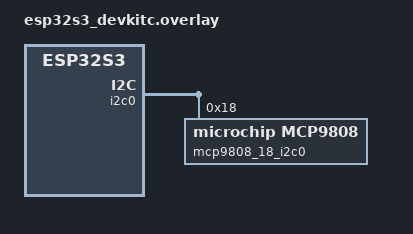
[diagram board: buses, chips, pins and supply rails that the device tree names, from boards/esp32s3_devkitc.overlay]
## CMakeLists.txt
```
cmake_minimum_required(VERSION 3.22.0)

set(ZEPHYR_EXTRA_MODULES "${CMAKE_SOURCE_DIR}/../../modules/mcp9808")

find_package(Zephyr REQUIRED HINTS $ENV{ZEPHYR_BASE})
project(thread_demo)

target_sources(app PRIVATE src/main.c)
```

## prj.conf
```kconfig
CONFIG_SENSOR=y
CONFIG_I2C=y
CONFIG_MCP9808=y
```

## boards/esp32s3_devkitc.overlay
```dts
// Create an alias for our MCP9808 device
/ {
    aliases {
        my-mcp9808 = &mcp9808_18_i2c0;
    };
};

// Add custom pins to the node labeled "pinctrl"
&pinctrl {

	// Configure custom pin settings for I2C bus 0
    i2c0_custom_pins: i2c0_custom_pins {

		// Custom group name
        group1 {
            pinmux = <I2C0_SDA_GPIO15>, <I2C0_SCL_GPIO16>;	// SDA on GPIO15, SCL on GPIO16
            bias-pull-up; 									// Enable pull-up resistors for both pins
            drive-open-drain; 								// Required for I2C
            output-high; 									// Start with lines high (inactive state)
        };
    };
};

// Enable I2C0 and add MCP9808 sensor
&i2c0 {
    pinctrl-0 = <&i2c0_custom_pins>; 						// Use the custom pin configuration
    status = "okay"; 										// Enable I2C0 interface

	// Label: name of our device node
    mcp9808_18_i2c0: mcp9808@18 {
        compatible = "microchip,mcp9808"; 					// Specify device bindings/driver
        reg = <0x18>; 										// I2C address of the MCP9808
        status = "okay"; 									// Enable the MCP9808 sensor
        resolution = <3>; 									// Set the resolution
    };
};
```

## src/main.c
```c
#include <stdio.h>
#include <zephyr/kernel.h>
#include <zephyr/drivers/sensor.h>

// Sleep settings
static const int32_t sensor_sleep_ms = 500;
static const int32_t output_sleep_ms = 5000;

// Stack size settings
#define SENSOR_THREAD_STACK_SIZE 512
#define OUTPUT_THREAD_STACK_SIZE 1024
#define QUEUE_SIZE 20

// Define stack areas for the threads
K_THREAD_STACK_DEFINE(sensor_stack, SENSOR_THREAD_STACK_SIZE);
K_THREAD_STACK_DEFINE(output_stack, OUTPUT_THREAD_STACK_SIZE);

// Declare thread data structs
static struct k_thread sensor_thread;
static struct k_thread output_thread;

// Define queue
K_MSGQ_DEFINE(my_queue, sizeof(struct sensor_value), QUEUE_SIZE, 4);

// Sensor thread entry point
void sensor_thread_start(void *sensor, void *arg2, void *arg3)
{
	int ret;
	struct sensor_value temperature;

	// Cast sensor handle back to device struct pointer
	const struct device *mcp = (const struct device *)sensor;

	// Check if the MCP9808 has been initialized (init function called)
	if (!device_is_ready(mcp)) {
		printk("Device %s is not ready.\n", mcp->name);
		return;
	}

	printk("Starting sensor thread\r\n");

	while (1) {

		// Sleep early to prevent fast loop on failure
		k_msleep(sensor_sleep_ms);

		// Fetch the value from the sensor into the device's data struct
        ret = sensor_sample_fetch(mcp);
        if (ret < 0) {
            printk("Sample fetch error: %d\n", ret);
            continue;
        }

        // Copy the value from the device's data struct into the local variable
        ret = sensor_channel_get(mcp, SENSOR_CHAN_AMBIENT_TEMP, &temperature);
        if (ret < 0) {
            printk("Channel get error: %d\n", ret);
            continue;
        }

		// Put message on queue
		printk("Putting message on queue\r\n");
		ret = k_msgq_put(&my_queue, &temperature, K_NO_WAIT);
		if (ret < 0) {
			printk("Queue full\r\n");
		}
	}
}

// Output thread entry point
void output_thread_start(void *arg1, void *arg2, void *arg3)
{
	struct sensor_value temperature;

	printk("Starting output thread\r\n");

	while (1) {

		// Let the queue fill up
		k_msleep(output_sleep_ms);

		// Print all messages in queue
		while (k_msgq_num_used_get(&my_queue) > 0) {
			if (k_msgq_get(&my_queue, &temperature, K_FOREVER) == 0) {
				printk("Temperature: %d.%06d\n", 
					   temperature.val1, 
					   temperature.val2);
			}
		}
	}
}

int main(void) 
{
	k_tid_t sensor_tid;
	k_tid_t output_tid;

	// Get Devicetree configuration for sensor
	const struct device *const mcp = DEVICE_DT_GET(DT_ALIAS(my_mcp9808));

	// Start the sensor thread
	sensor_tid = k_thread_create(&sensor_thread,		// Thread struct
								sensor_stack,			// Stack
								K_THREAD_STACK_SIZEOF(sensor_stack),
								sensor_thread_start,	// Entry point
								(void *)mcp,			// Pass in sensor handle
								NULL,					// arg_2
								NULL,					// arg_3
								8,						// Priority
								0,						// Options
								K_NO_WAIT);				// Delay

	// Start the output thread
	output_tid = k_thread_create(&output_thread,		// Thread struct
								output_stack,			// Stack
								K_THREAD_STACK_SIZEOF(output_stack),
								output_thread_start,	// Entry point
								NULL,					// arg_1
								NULL,					// arg_2
								NULL,					// arg_3
								7,						// Priority
								0,						// Options
								K_NO_WAIT);				// Delay

	// Do nothing
	while (1) {
		k_msleep(1000);
	}

	return 0;
}
```
